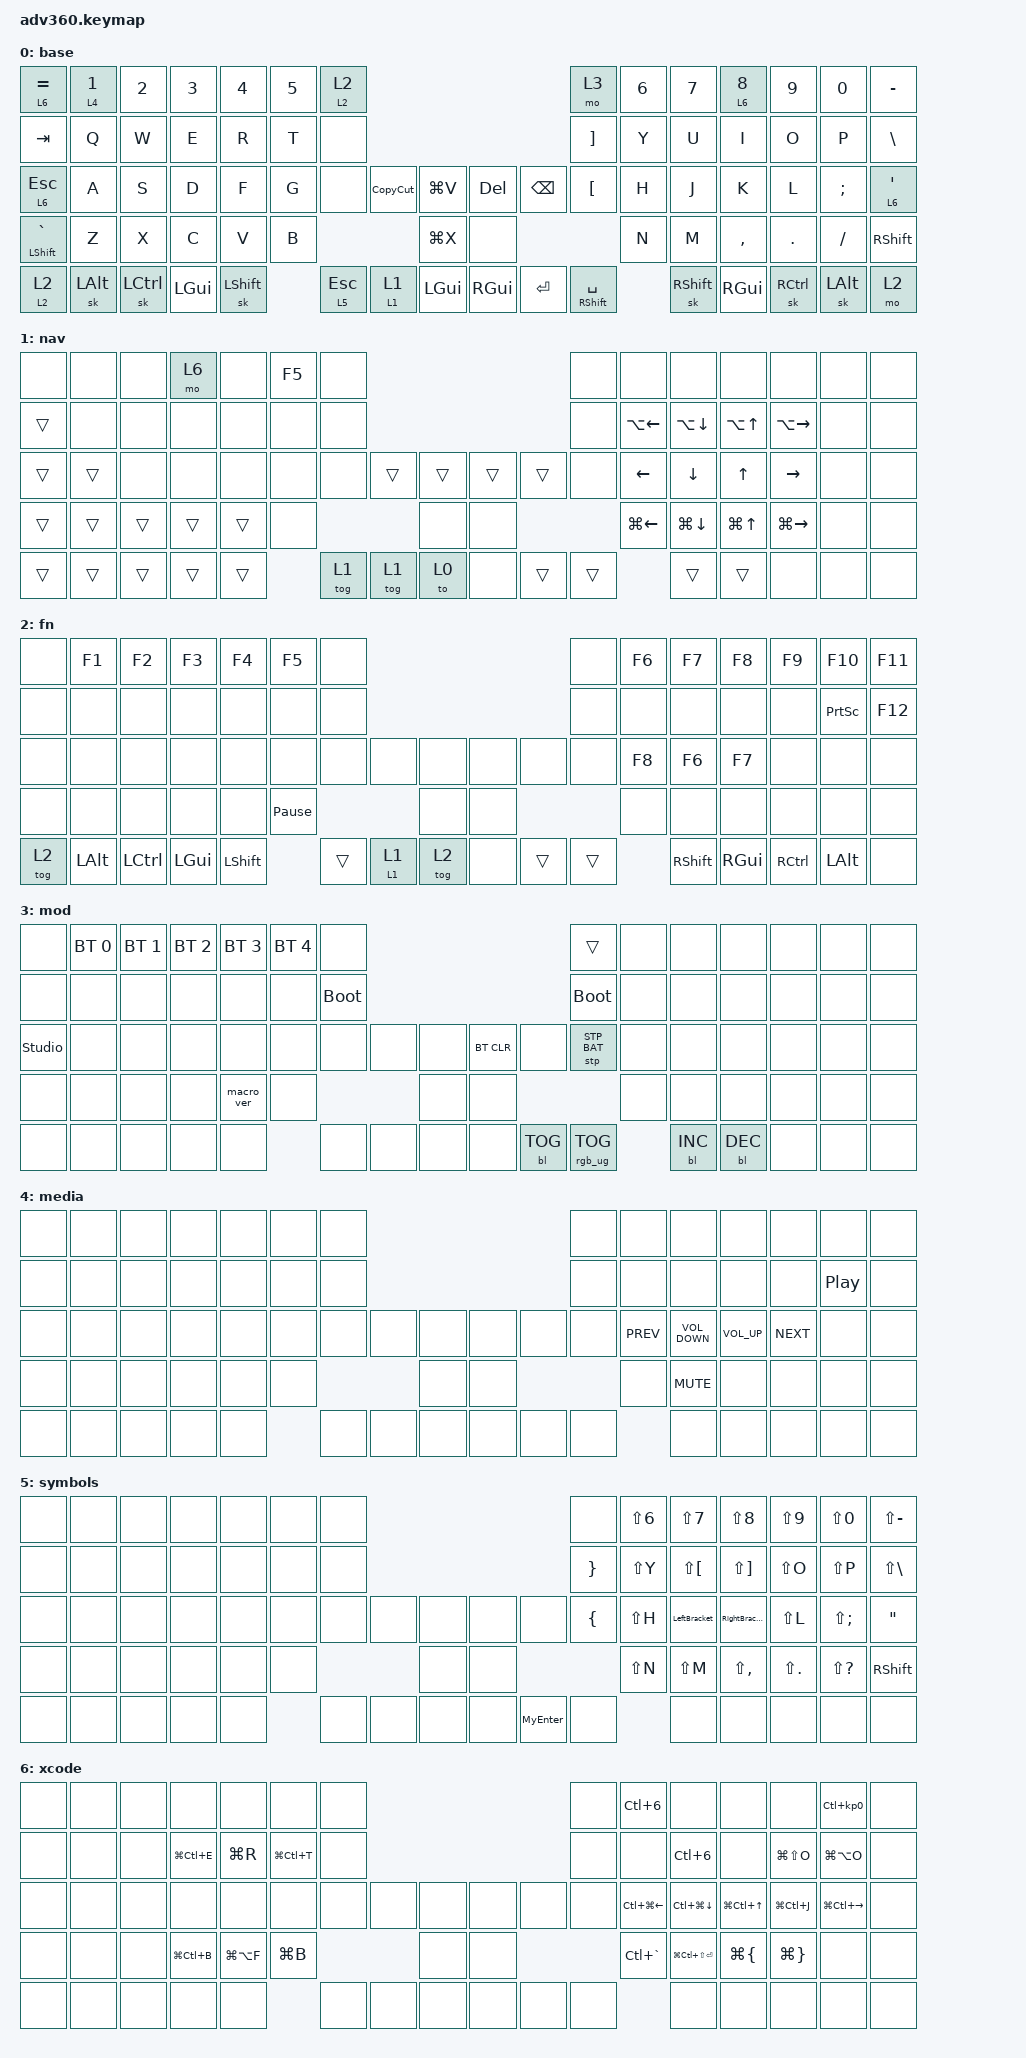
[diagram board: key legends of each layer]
#include <dt-bindings/zmk/stp.h>
#include <behaviors.dtsi>
#include <dt-bindings/zmk/backlight.h>
#include <dt-bindings/zmk/bt.h>
#include <dt-bindings/zmk/keys.h>
#include <dt-bindings/zmk/rgb.h>

/ {
    behaviors {
        #include "macros.dtsi"
      #include "version.dtsi"

        hm: homerow_mods {
            compatible = "zmk,behavior-hold-tap";
            label = "HOMEROW_MODS";
            #binding-cells = <2>;
            tapping-term-ms = <200>;
            quick_tap_ms = <200>;
            flavor = "tap-preferred";
            bindings = <&kp>, <&kp>;
        };

        MoTo: MoTo {
            compatible = "zmk,behavior-hold-tap";
            #binding-cells = <2>;
            tapping-term-ms = <200>;
            bindings = <&mo>, <&to>;
        };

        CopyCut: CopyCut {
            compatible = "zmk,behavior-tap-dance";
            #binding-cells = <0>;
            tapping-term-ms = <200>;
            bindings = <&kp LG(C)>, <&kp LG(X)>;
        };

        longhm: longhm {
            compatible = "zmk,behavior-hold-tap";
            label = "LONGHM";
            bindings = <&kp>, <&kp>;

            #binding-cells = <2>;
            tapping-term-ms = <300>;
            quick-tap-ms = <150>;
            require-prior-idle-ms = <300>;
            flavor = "tap-preferred";
        };

        LeftBracket: LeftBracket {
            compatible = "zmk,behavior-tap-dance";
            label = "LEFTBRACKET";
            #binding-cells = <0>;
            bindings = <&mt LS(J) LEFT_PARENTHESIS>, <&kp LS(J)>;
        };

        RightBracket: RightBracket {
            compatible = "zmk,behavior-tap-dance";
            label = "RIGHTBRACKET";
            #binding-cells = <0>;
            bindings = <&mt LS(K) RIGHT_PARENTHESIS>, <&kp LS(K)>;
        };

        MoTog: MoTog {
            compatible = "zmk,behavior-hold-tap";
            label = "MOTOG";
            bindings = <&mo>, <&tog>;

            #binding-cells = <2>;
            tapping-term-ms = <200>;
        };
    };

    macros {
        MyEnter: MyEnter {
            label = "&MYENTER";
            compatible = "zmk,behavior-macro";
            #binding-cells = <0>;
            bindings = <&kp RET &kp LS(LBKT) &kp RET>;
        };
    };

    combos { compatible = "zmk,combos"; };

    keymap {
        compatible = "zmk,keymap";

        base {
            display-name = "base";
            bindings = <
&lt 6 EQUAL      &lt 4 NUMBER_1  &kp N2     &kp NUMBER_3  &kp NUMBER_4  &kp N5  &MoTo 2 2                                                          &mo 3              &kp N6  &kp N7           &lt 6 N8   &kp N9     &kp N0     &kp MINUS
&kp TAB          &kp Q           &kp W      &kp E         &kp R         &kp T   &none                                                              &kp RIGHT_BRACKET  &kp Y   &kp U            &kp I      &kp O      &kp P      &kp BSLH
&lt 6 ESCAPE     &kp A           &kp S      &kp D         &kp F         &kp G   &none         &CopyCut    &kp LG(V)      &kp DEL        &kp BSPC   &kp LEFT_BRACKET   &kp H   &kp J            &kp K      &kp L      &kp SEMI   &lt 6 SQT
&mt LSHFT GRAVE  &kp Z           &kp X      &kp C         &kp V         &kp B                             &kp LG(X)      &none                                        &kp N   &kp M            &kp COMMA  &kp DOT    &kp SLASH  &kp RIGHT_SHIFT
&MoTog 2 2       &sk LALT        &sk LCTRL  &kp LGUI      &sk LSHFT             &lt 5 ESCAPE  &MoTog 1 1  &kp LGUI       &kp RIGHT_GUI  &kp ENTER  &hm RSHFT SPACE            &sk RIGHT_SHIFT  &kp RGUI   &sk RCTRL  &sk LALT   &mo 2
            >;
        };

        nav {
            display-name = "nav";
            bindings = <
&none   &none   &none   &mo 6   &none   &kp F5  &none                                       &none   &none         &none         &none             &none          &none  &none
&trans  &none   &none   &none   &none   &none   &none                                       &none   &kp LA(LEFT)  &kp LA(DOWN)  &kp LA(UP_ARROW)  &kp LA(RIGHT)  &none  &none
&trans  &trans  &none   &none   &none   &none   &none   &trans  &trans      &trans  &trans  &none   &kp LEFT      &kp DOWN      &kp UP_ARROW      &kp RIGHT      &none  &none
&trans  &trans  &trans  &trans  &trans  &none                   &none       &none                   &kp LG(LEFT)  &kp LG(DOWN)  &kp LG(UP_ARROW)  &kp LG(RIGHT)  &none  &none
&trans  &trans  &trans  &trans  &trans          &tog 1  &tog 1  &to 0       &none   &trans  &trans                &trans        &trans            &none          &none  &none
            >;
        };

        fn {
            display-name = "fn";
            bindings = <
&none   &kp F1    &kp F2     &kp F3    &kp F4          &kp F5           &none                                          &none   &kp F6  &kp F7     &kp F8    &kp F9     &kp F10          &kp F11
&none   &none     &none      &none     &none           &none            &none                                          &none   &none   &none      &none     &none      &kp PRINTSCREEN  &kp F12
&none   &none     &none      &none     &none           &none            &none   &none       &none       &none  &none   &none   &kp F8  &kp F6     &kp F7    &none      &none            &none
&none   &none     &none      &none     &none           &kp PAUSE_BREAK                      &none       &none                  &none   &none      &none     &none      &none            &none
&tog 2  &kp LALT  &kp LCTRL  &kp LGUI  &kp LEFT_SHIFT                   &trans  &MoTog 1 1  &tog 2      &none  &trans  &trans          &kp RSHFT  &kp RGUI  &kp RCTRL  &kp LALT         &none
            >;
        };

        mod {
            display-name = "mod";
            bindings = <
&none           &bt BT_SEL 0  &bt BT_SEL 1  &bt BT_SEL 2  &bt BT_SEL 3  &bt BT_SEL 4  &none                                                  &trans           &none  &none       &none       &none  &none  &none
&none           &none         &none         &none         &none         &none         &bootloader                                            &bootloader      &none  &none       &none       &none  &none  &none
&studio_unlock  &none         &none         &none         &none         &none         &none        &none  &none      &bt BT_CLR  &none       &stp STP_BAT     &none  &none       &none       &none  &none  &none
&none           &none         &none         &none         &macro_ver    &none                             &none      &none                                    &none  &none       &none       &none  &none  &none
&none           &none         &none         &none         &none                       &none        &none  &none      &none       &bl BL_TOG  &rgb_ug RGB_TOG         &bl BL_INC  &bl BL_DEC  &none  &none  &none
            >;
        };

        media {
            display-name = "media";
            bindings = <
&none  &none  &none  &none  &none  &none  &none                                  &none  &none       &none              &none            &none       &none     &none
&none  &none  &none  &none  &none  &none  &none                                  &none  &none       &none              &none            &none       &kp C_PP  &none
&none  &none  &none  &none  &none  &none  &none  &none  &none      &none  &none  &none  &kp C_PREV  &kp C_VOLUME_DOWN  &kp C_VOLUME_UP  &kp C_NEXT  &none     &none
&none  &none  &none  &none  &none  &none                &none      &none                &none       &kp C_MUTE         &none            &none       &none     &none
&none  &none  &none  &none  &none         &none  &none  &none      &none  &none  &none              &none              &none            &none       &none     &none
            >;
        };

        symbols {
            display-name = "symbols";
            bindings = <
&none  &none  &none  &none  &none  &none  &none                                     &none            &kp LS(N6)  &kp LS(N7)    &kp LS(N8)     &kp LS(N9)   &kp LS(N0)        &kp LS(MINUS)
&none  &none  &none  &none  &none  &none  &none                                     &kp RIGHT_BRACE  &kp LS(Y)   &kp LS(LBKT)  &kp LS(RBKT)   &kp LS(O)    &kp LS(P)         &kp LS(BSLH)
&none  &none  &none  &none  &none  &none  &none  &none  &none      &none  &none     &kp LEFT_BRACE   &kp LS(H)   &LeftBracket  &RightBracket  &kp LS(L)    &kp LS(SEMI)      &kp DOUBLE_QUOTES
&none  &none  &none  &none  &none  &none                &none      &none                             &kp LS(N)   &kp LS(M)     &kp LS(COMMA)  &kp LS(DOT)  &kp LS(QUESTION)  &kp RSHFT
&none  &none  &none  &none  &none         &none  &none  &none      &none  &MyEnter  &none                        &none         &none          &none        &none             &none
            >;
        };

        xcode {
            display-name = "xcode";
            bindings = <
&none  &none  &none  &none          &none          &none          &none                                  &none  &kp LC(NUMBER_6)        &none                  &none                 &none                &kp LC(KP_NUMBER_0)  &none
&none  &none  &none  &kp LG(LC(E))  &kp LG(R)      &kp LG(LC(T))  &none                                  &none  &none                   &kp LC(NUMBER_6)       &none                 &kp LG(LS(O))        &kp LG(LA(O))        &none
&none  &none  &none  &none          &none          &none          &none  &none  &none      &none  &none  &none  &kp LC(LG(LEFT_ARROW))  &kp LC(LG(DOWN))       &kp LG(LC(UP_ARROW))  &kp LG(LC(J))        &kp LG(LC(RIGHT))    &none
&none  &none  &none  &kp LG(LC(B))  &kp LG(LA(F))  &kp LG(B)                    &none      &none                &kp LC(GRAVE)           &kp LG(LC(LS(ENTER)))  &kp LG(LEFT_BRACE)    &kp LG(RIGHT_BRACE)  &none                &none
&none  &none  &none  &none          &none                         &none  &none  &none      &none  &none  &none                          &none                  &none                 &none                &none                &none
            >;
        };
    };
};
